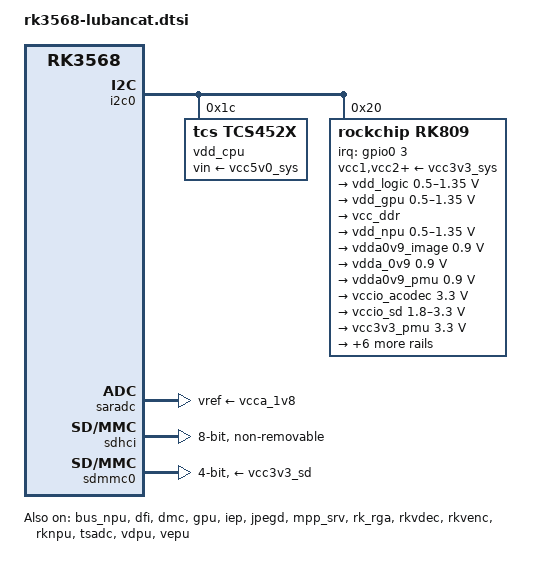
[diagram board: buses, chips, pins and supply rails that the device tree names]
// SPDX-License-Identifier: (GPL-2.0+ OR MIT)
#include "rk3568-linux.dtsi"

/ {
	reserved-memory {
		#address-cells = <2>;
		#size-cells = <2>;
		ranges;
		ramoops: ramoops@110000 {
			compatible = "ramoops";
			reg = <0x0 0x110000 0x0 0xf0000>;
			record-size = <0x20000>;
			console-size = <0x80000>;
			ftrace-size = <0x00000>;
			pmsg-size = <0x50000>;
		};

		abc: abc@80900000{
			reg = <0x0 0x80900000 0x0 0x100000>;
		};
	};

	test-power {
		status = "okay";
	};
};

&bus_npu {
	bus-supply = <&vdd_logic>;
	pvtm-supply = <&vdd_cpu>;
	status = "okay";
};

&cpu0 {
	cpu-supply = <&vdd_cpu>;
};

&dfi {
	status = "okay";
};

&dmc {
	center-supply = <&vdd_logic>;
	status = "okay";
};

&gpu {
	mali-supply = <&vdd_gpu>;
	status = "okay";
};

&i2c0 {
	status = "okay";

	vdd_cpu: tcs4525@1c {
		compatible = "tcs,tcs452x";
		reg = <0x1c>;
		vin-supply = <&vcc5v0_sys>;
		regulator-compatible = "fan53555-reg";
		regulator-name = "vdd_cpu";
		regulator-min-microvolt = <712500>;
		regulator-max-microvolt = <1390000>;
		regulator-ramp-delay = <2300>;
		fcs,suspend-voltage-selector = <1>;
		regulator-boot-on;
		regulator-always-on;
		regulator-state-mem {
			regulator-off-in-suspend;
		};
	};

	rk809: pmic@20 {
		compatible = "rockchip,rk809";
		reg = <0x20>;
		interrupt-parent = <&gpio0>;
		interrupts = <3 IRQ_TYPE_LEVEL_LOW>;

		pinctrl-names = "default", "pmic-sleep",
						"pmic-power-off", "pmic-reset";
		pinctrl-0 = <&pmic_int>;
		pinctrl-1 = <&soc_slppin_slp>, <&rk817_slppin_slp>;
		pinctrl-2 = <&soc_slppin_gpio>, <&rk817_slppin_pwrdn>;
		pinctrl-3 = <&soc_slppin_gpio>, <&rk817_slppin_rst>;

		rockchip,system-power-controller;
		wakeup-source;
		#clock-cells = <1>;
		clock-output-names = "rk808-clkout1", "rk808-clkout2";
		//fb-inner-reg-idxs = <2>;
		/* 1: rst regs (default in codes), 0: rst the pmic */
		pmic-reset-func = <0>;
		/* not save the PMIC_POWER_EN register in uboot */
		not-save-power-en = <1>;

		vcc1-supply = <&vcc3v3_sys>;
		vcc2-supply = <&vcc3v3_sys>;
		vcc3-supply = <&vcc3v3_sys>;
		vcc4-supply = <&vcc3v3_sys>;
		vcc5-supply = <&vcc3v3_sys>;
		vcc6-supply = <&vcc3v3_sys>;
		vcc7-supply = <&vcc3v3_sys>;
		vcc8-supply = <&vcc3v3_sys>;
		vcc9-supply = <&vcc3v3_sys>;

		pwrkey {
			status = "okay";
		};

		pinctrl_rk8xx: pinctrl_rk8xx {
			gpio-controller;
			#gpio-cells = <2>;

			rk817_slppin_null: rk817_slppin_null {
				pins = "gpio_slp";
				function = "pin_fun0";
			};

			rk817_slppin_slp: rk817_slppin_slp {
				pins = "gpio_slp";
				function = "pin_fun1";
			};

			rk817_slppin_pwrdn: rk817_slppin_pwrdn {
				pins = "gpio_slp";
				function = "pin_fun2";
			};

			rk817_slppin_rst: rk817_slppin_rst {
				pins = "gpio_slp";
				function = "pin_fun3";
			};
		};

		regulators {
			vdd_logic: DCDC_REG1 {
				regulator-always-on;
				regulator-boot-on;
				regulator-min-microvolt = <500000>;
				regulator-max-microvolt = <1350000>;
				regulator-init-microvolt = <900000>;
				regulator-ramp-delay = <6001>;
				regulator-initial-mode = <0x2>;
				regulator-name = "vdd_logic";
				regulator-state-mem {
					regulator-off-in-suspend;
				};
			};

			vdd_gpu: DCDC_REG2 {
				regulator-always-on;
				regulator-boot-on;
				regulator-min-microvolt = <500000>;
				regulator-max-microvolt = <1350000>;
				regulator-init-microvolt = <900000>;
				regulator-ramp-delay = <6001>;
				regulator-initial-mode = <0x2>;
				regulator-name = "vdd_gpu";
				regulator-state-mem {
					regulator-off-in-suspend;
				};
			};

			vcc_ddr: DCDC_REG3 {
				regulator-always-on;
				regulator-boot-on;
				regulator-initial-mode = <0x2>;
				regulator-name = "vcc_ddr";
				regulator-state-mem {
					regulator-on-in-suspend;
				};
			};

			vdd_npu: DCDC_REG4 {
				regulator-always-on;
				regulator-boot-on;
				regulator-min-microvolt = <500000>;
				regulator-max-microvolt = <1350000>;
				regulator-init-microvolt = <900000>;
				regulator-ramp-delay = <6001>;
				regulator-initial-mode = <0x2>;
				regulator-name = "vdd_npu";
				regulator-state-mem {
					regulator-off-in-suspend;
				};
			};

			vdda0v9_image: LDO_REG1 {
				regulator-boot-on;
				regulator-always-on;
				regulator-min-microvolt = <900000>;
				regulator-max-microvolt = <900000>;
				regulator-name = "vdda0v9_image";
				regulator-state-mem {
					regulator-off-in-suspend;
				};
			};

			vdda_0v9: LDO_REG2 {
				regulator-always-on;
				regulator-boot-on;
				regulator-min-microvolt = <900000>;
				regulator-max-microvolt = <900000>;
				regulator-name = "vdda_0v9";
				regulator-state-mem {
					regulator-off-in-suspend;
				};
			};

			vdda0v9_pmu: LDO_REG3 {
				regulator-always-on;
				regulator-boot-on;
				regulator-min-microvolt = <900000>;
				regulator-max-microvolt = <900000>;
				regulator-name = "vdda0v9_pmu";
				regulator-state-mem {
					regulator-on-in-suspend;
					regulator-suspend-microvolt = <900000>;
				};
			};

			vccio_acodec: LDO_REG4 {
				regulator-always-on;
				regulator-boot-on;
				regulator-min-microvolt = <3300000>;
				regulator-max-microvolt = <3300000>;
				regulator-name = "vccio_acodec";
				regulator-state-mem {
					regulator-off-in-suspend;
				};
			};

			vccio_sd: LDO_REG5 {
				regulator-always-on;
				regulator-boot-on;
				regulator-min-microvolt = <1800000>;
				regulator-max-microvolt = <3300000>;
				regulator-name = "vccio_sd";
				regulator-state-mem {
					regulator-off-in-suspend;
				};
			};

			vcc3v3_pmu: LDO_REG6 {
				regulator-always-on;
				regulator-boot-on;
				regulator-min-microvolt = <3300000>;
				regulator-max-microvolt = <3300000>;
				regulator-name = "vcc3v3_pmu";
				regulator-state-mem {
					regulator-on-in-suspend;
					regulator-suspend-microvolt = <3300000>;
				};
			};

			vcca_1v8: LDO_REG7 {
				regulator-always-on;
				regulator-boot-on;
				regulator-min-microvolt = <1800000>;
				regulator-max-microvolt = <1800000>;
				regulator-name = "vcca_1v8";
				regulator-state-mem {
					regulator-off-in-suspend;
				};
			};

			vcca1v8_pmu: LDO_REG8 {
				regulator-always-on;
				regulator-boot-on;
				regulator-min-microvolt = <1800000>;
				regulator-max-microvolt = <1800000>;
				regulator-name = "vcca1v8_pmu";
				regulator-state-mem {
					regulator-on-in-suspend;
					regulator-suspend-microvolt = <1800000>;
				};
			};

			vcca1v8_image: LDO_REG9 {
				regulator-always-on;
				regulator-boot-on;
				regulator-min-microvolt = <1800000>;
				regulator-max-microvolt = <1800000>;
				regulator-name = "vcca1v8_image";
				regulator-state-mem {
					regulator-off-in-suspend;
				};
			};

			vcc_1v8: DCDC_REG5 {
				regulator-always-on;
				regulator-boot-on;
				regulator-min-microvolt = <1800000>;
				regulator-max-microvolt = <1800000>;
				regulator-name = "vcc_1v8";
				regulator-state-mem {
					regulator-off-in-suspend;
				};
			};

			vcc_3v3: SWITCH_REG1 {
				regulator-always-on;
				regulator-boot-on;
				regulator-name = "vcc_3v3";
				regulator-state-mem {
					regulator-off-in-suspend;
				};
			};

			vcc3v3_sd: SWITCH_REG2 {
				regulator-always-on;
				regulator-boot-on;
				regulator-name = "vcc3v3_sd";
				regulator-state-mem {
					regulator-off-in-suspend;
				};
			};
		};

		rk809_codec: codec {
			#sound-dai-cells = <0>;
			compatible = "rockchip,rk809-codec", "rockchip,rk817-codec";
			clocks = <&cru I2S1_MCLKOUT_TX>;
			clock-names = "mclk";
			assigned-clocks = <&cru I2S1_MCLKOUT_TX>, <&cru I2S1_MCLK_TX_IOE>;
			assigned-clock-rates = <12288000>;
			assigned-clock-parents = <&cru CLK_I2S1_8CH_TX>, <&cru I2S1_MCLKOUT_TX>;
			pinctrl-names = "default";
			pinctrl-0 = <&i2s1m0_mclk>;
			hp-volume = <20>;
			spk-volume = <3>;
			//mic-in-differential;
			status = "okay";
		};
	};
};

&iep {
	status = "okay";
};

&iep_mmu {
	status = "okay";
};

&jpegd {
	status = "okay";
};

&jpegd_mmu {
	status = "okay";
};

&mpp_srv {
	status = "okay";
};

&rk_rga {
	status = "okay";
};

&rkvdec {
	status = "okay";
};

&rkvdec_mmu {
	status = "okay";
};

&rkvenc {
	venc-supply = <&vdd_logic>;
	status = "okay";
};

&rkvenc_mmu {
	status = "okay";
};

&rknpu {
	rknpu-supply = <&vdd_npu>;
	status = "okay";
};

&rknpu_mmu {
	status = "okay";
};

&rockchip_suspend {
	compatible = "rockchip,pm-rk3568";
	rockchip,sleep-debug-en = <1>;
	rockchip,sleep-mode-config = <
		(0
		| RKPM_SLP_ARMOFF_LOGOFF
		| RKPM_SLP_CENTER_OFF
		| RKPM_SLP_HW_PLLS_OFF
//		| RKPM_SLP_PMUALIVE_32K
		| RKPM_SLP_OSC_DIS
		| RKPM_SLP_PMIC_LP
		| RKPM_SLP_32K_PVTM
		)
	>;
	rockchip,wakeup-config = <
		(0
		| RKPM_GPIO_WKUP_EN
		| RKPM_PWM0_WKUP_EN
		)
	>;
};

&saradc {
	vref-supply = <&vcca_1v8>;
	status = "okay";
};

&sdhci {
	bus-width = <8>;
	supports-emmc;
	non-removable;
	max-frequency = <200000000>;
	mmc-hs200-1_8v;
	status = "okay";
};

&sdmmc0 {
	max-frequency = <150000000>;
	supports-sd;
	bus-width = <4>;
	cap-mmc-highspeed;
	cap-sd-highspeed;
	disable-wp;
	sd-uhs-sdr104;
	vmmc-supply = <&vcc3v3_sd>;
	vqmmc-supply = <&vccio_sd>;
	pinctrl-names = "default";
	pinctrl-0 = <&sdmmc0_bus4 &sdmmc0_clk &sdmmc0_cmd &sdmmc0_det>;
	status = "okay";
};

&tsadc {
	status = "okay";
};

&vdpu {
	status = "okay";
};

&vdpu_mmu {
	status = "okay";
};

&vepu {
	status = "okay";
};

&vepu_mmu {
	status = "okay";
};

&pinctrl {
	pmic {
		pmic_int: pmic_int {
			rockchip,pins =
				<0 RK_PA3 RK_FUNC_GPIO &pcfg_pull_up>;
		};

		soc_slppin_gpio: soc_slppin_gpio {
			rockchip,pins =
				<0 RK_PA2 RK_FUNC_GPIO &pcfg_output_low_pull_down>;
		};

		soc_slppin_slp: soc_slppin_slp {
			rockchip,pins =
				<0 RK_PA2 RK_FUNC_1 &pcfg_pull_up>;
		};

		soc_slppin_rst: soc_slppin_rst {
			rockchip,pins =
				<0 RK_PA2 RK_FUNC_2 &pcfg_pull_none>;
		};

		spk_ctl_gpio: spk_ctl_gpio {
			rockchip,pins =
				<3 RK_PC5 RK_FUNC_GPIO &pcfg_pull_up>;
		};
	};
};
